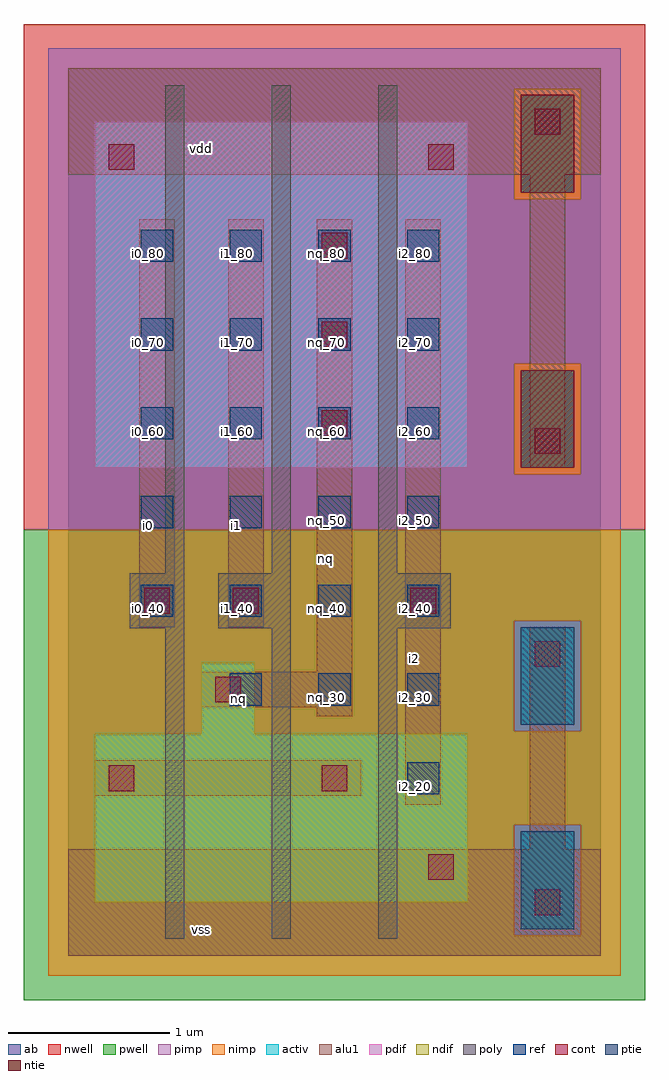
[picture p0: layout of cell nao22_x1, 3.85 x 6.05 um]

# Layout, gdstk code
import gdstk
lib = gdstk.Library(unit=1e-6, precision=2.5e-09)
def R(c, l, rs):  # rectangles x0, y0, x1, y1
    for r in rs: c.add(gdstk.rectangle(r[:2], r[2:], *l))
def A(c, l, x, y, w, h, nx, ny, dx, dy):  # array of equal rectangles
    R(c, l, [(x+i*dx, y+j*dy, x+i*dx+w, y+j*dy+h) for i in range(nx) for j in range(ny)])
ndif = (3, 0)
pdif = (4, 0)
ntie = (5, 0)
ptie = (6, 0)
ref = (24, 0)
cont = (25, 0)
pwell = (41, 0)
nwell = (42, 0)
activ = (43, 0)
pimp = (44, 0)
nimp = (45, 0)
poly = (46, 0)
alu1 = (49, 0)
ab = (63, 0)

nao22_x1 = lib.new_cell('nao22_x1')
R(nao22_x1, ndif, [(0.165,0.33,2.475,1.375), (0.825,1.375,1.155,1.815)])
R(nao22_x1, pdif, [(0.165,3.025,2.475,5.17)])
R(nao22_x1, ntie, [(2.805,3.025,3.135,3.63), (2.805,4.73,3.135,5.335)])
R(nao22_x1, ptie, [(2.805,0.165,3.135,0.77), (2.805,1.43,3.135,2.035)])
A(nao22_x1, ref, 1, 1.55, 0.2, 0.2, 3, 1, 0.55, 0)
A(nao22_x1, ref, 0.45, 2.1, 0.2, 0.2, 4, 5, 0.55, 0.55)
R(nao22_x1, ref, [(2.1,1,2.3,1.2)])
A(nao22_x1, cont, 1.57, 3.22, 0.16, 0.16, 1, 3, 0, 0.55)
R(nao22_x1, cont, [(2.89,0.25,3.05,0.41), (2.23,0.47,2.39,0.63), (0.25,1.02,0.41,1.18), (1.57,1.02,1.73,1.18), (0.91,1.57,1.07,1.73), (2.89,1.79,3.05,1.95), (0.47,2.12,0.63,2.28), (1.02,2.12,1.18,2.28), (2.12,2.12,2.28,2.28), (2.89,3.11,3.05,3.27), (0.25,4.87,0.41,5.03), (2.23,4.87,2.39,5.03), (2.89,5.09,3.05,5.25)])
R(nao22_x1, pwell, [(-0.275,-0.275,3.575,2.64)])
R(nao22_x1, nwell, [(-0.275,2.64,3.575,5.775)])
R(nao22_x1, activ, [(2.805,0.165,3.135,0.77), (0.165,0.33,2.475,1.375), (0.825,1.375,1.155,1.815), (2.805,1.43,3.135,2.035), (0.165,3.025,2.475,5.17), (2.805,3.025,3.135,3.63), (2.805,4.73,3.135,5.335)])
R(nao22_x1, pimp, [(2.765,0.125,3.175,0.81), (2.765,1.39,3.175,2.075), (-0.125,2.64,3.425,2.985), (-0.125,2.985,2.765,3.67), (3.175,2.985,3.425,3.67), (-0.125,3.67,3.425,4.69), (-0.125,4.69,2.765,5.375), (3.175,4.69,3.425,5.375), (-0.125,5.375,3.425,5.625)])
R(nao22_x1, nimp, [(-0.125,-0.125,3.425,0.125), (-0.125,0.125,2.765,0.81), (3.175,0.125,3.425,0.81), (-0.125,0.81,3.425,1.39), (-0.125,1.39,2.765,2.075), (3.175,1.39,3.425,2.075), (-0.125,2.075,3.425,2.64), (2.765,2.985,3.175,3.67), (2.765,4.69,3.175,5.375)])
A(nao22_x1, poly, 0.6, 0.105, 0.12, 1.925, 3, 1, 0.66, 0)
A(nao22_x1, poly, 0.6, 2.37, 0.12, 3.025, 3, 1, 0.66, 0)
R(nao22_x1, poly, [(0.38,2.03,0.72,2.37), (0.93,2.03,1.38,2.37), (1.92,2.03,2.37,2.37)])
R(nao22_x1, alu1, [(0,0,3.3,0.66), (2.86,0.66,3.08,2.035), (2.09,0.935,2.31,4.565), (0.165,0.99,1.815,1.21), (1.54,1.485,1.76,1.54), (0.825,1.54,1.76,1.76), (1.54,1.76,1.76,4.565), (0.44,2.035,0.66,4.565), (0.99,2.035,1.21,4.565), (2.86,3.025,3.08,4.84), (0,4.84,3.3,5.5)])
R(nao22_x1, ab, [(0,0,3.3,5.5)])
nao22_x1.add(gdstk.Label('vss', (0.825,0.165), layer=49, texttype=0))
nao22_x1.add(gdstk.Label('i2', (2.145,1.8425), layer=49, texttype=0))
nao22_x1.add(gdstk.Label('nq', (1.0575,1.595), layer=49, texttype=0))
nao22_x1.add(gdstk.Label('nq', (1.595,2.46), layer=49, texttype=0))
nao22_x1.add(gdstk.Label('i1', (1.045,2.6675), layer=49, texttype=0))
nao22_x1.add(gdstk.Label('i0', (0.495,2.6675), layer=49, texttype=0))
nao22_x1.add(gdstk.Label('vdd', (0.825,5.005), layer=49, texttype=0))
nao22_x1.add(gdstk.Label('nq_30', (1.05,1.6), layer=24, texttype=0))
nao22_x1.add(gdstk.Label('i2_20', (2.15,1.05), layer=24, texttype=0))
nao22_x1.add(gdstk.Label('i2_80', (2.15,4.35), layer=24, texttype=0))
nao22_x1.add(gdstk.Label('nq_80', (1.6,4.35), layer=24, texttype=0))
nao22_x1.add(gdstk.Label('i1_80', (1.05,4.35), layer=24, texttype=0))
nao22_x1.add(gdstk.Label('i1_70', (1.05,3.8), layer=24, texttype=0))
nao22_x1.add(gdstk.Label('i0_70', (0.5,3.8), layer=24, texttype=0))
nao22_x1.add(gdstk.Label('i0_80', (0.5,4.35), layer=24, texttype=0))
nao22_x1.add(gdstk.Label('i0_40', (0.5,2.15), layer=24, texttype=0))
nao22_x1.add(gdstk.Label('i0_50', (0.5,2.7), layer=24, texttype=0))
nao22_x1.add(gdstk.Label('i0_60', (0.5,3.25), layer=24, texttype=0))
nao22_x1.add(gdstk.Label('i1_60', (1.05,3.25), layer=24, texttype=0))
nao22_x1.add(gdstk.Label('i1_50', (1.05,2.7), layer=24, texttype=0))
nao22_x1.add(gdstk.Label('i1_40', (1.05,2.15), layer=24, texttype=0))
nao22_x1.add(gdstk.Label('i2_30', (2.15,1.6), layer=24, texttype=0))
nao22_x1.add(gdstk.Label('i2_40', (2.15,2.15), layer=24, texttype=0))
nao22_x1.add(gdstk.Label('i2_50', (2.15,2.7), layer=24, texttype=0))
nao22_x1.add(gdstk.Label('i2_60', (2.15,3.25), layer=24, texttype=0))
nao22_x1.add(gdstk.Label('i2_70', (2.15,3.8), layer=24, texttype=0))
nao22_x1.add(gdstk.Label('nq_30', (1.6,1.6), layer=24, texttype=0))
nao22_x1.add(gdstk.Label('nq_40', (1.6,2.15), layer=24, texttype=0))
nao22_x1.add(gdstk.Label('nq_50', (1.6,2.7), layer=24, texttype=0))
nao22_x1.add(gdstk.Label('nq_60', (1.6,3.25), layer=24, texttype=0))
nao22_x1.add(gdstk.Label('nq_70', (1.6,3.8), layer=24, texttype=0))

lib.write_gds('nao22_x1.gds')
